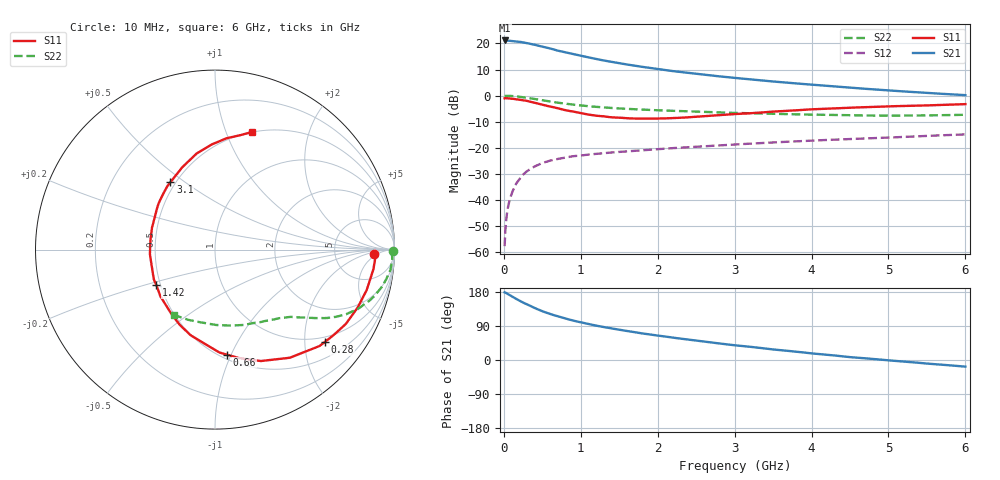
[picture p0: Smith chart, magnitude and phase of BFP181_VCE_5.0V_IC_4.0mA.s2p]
! Infineon Technologies  Discrete & RF Semiconductors
! BFP181
! VCE = 5.0 V,  IC =  4.0 mA
! Common Emitter S-Parameters:  Jan 2016
# GHz  S  MA  R  50
!  f  S11  S21  S12  S22
! GHz  MAG  ANG  MAG  ANG  MAG  ANG  MAG  ANG
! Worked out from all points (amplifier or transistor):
!   210 points, 10 MHz to 6 GHz, reference 50 ohm
!   highest |S21| = 21.1 dB at 10 MHz (marker M1)
!   |S21| within 3 dB of that: start of sweep to 592.3 MHz
!   unconditionally stable (mu >= 1): 1.936 GHz to end of sweep
!   at 185 MHz: K = 0.14, MSG = 26.7 dB, |S12| = -32.7 dB
!   at 1.52 GHz: K = 0.87, MSG = 16.9 dB, |S12| = -21.5 dB
!   at 6 GHz: K = 1.06, MAG = 6.0 dB, |S12| = -14.9 dB
!   S11 on the Smith chart (normalised r, x): 10 MHz: 16, -4; 280 MHz: 0.87, -2.48; 660 MHz: 0.54, -0.97; 1.42 GHz: 0.47, -0.22; 3.1 GHz: 0.47, +0.44; 6 GHz: 0.50, +1.23
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0.01  0.885 -1.6  11.4 178.6  0.0013 90.4  0.9926 -0.6
0.02  0.8945 -2.9  11.37 177.9  0.0026 83.6  0.9866 -1.2
0.035  0.8913 -5.0  11.34 176.0  0.0047 85.8  0.9876 -2.3
0.08  0.8785 -11.8  11.21 170.6  0.0105 83.0  0.9856 -5.3
0.2  0.8384 -29.6  10.81 156.9  0.0249 74.4  0.9518 -12.7
0.28  0.7996 -40.0  10.28 148.8  0.0335 68.1  0.9169 -17.1
0.4  0.7328 -55.3  9.439 137.1  0.0438 61.1  0.8621 -22.6
0.48  0.6811 -65.0  8.817 130.3  0.0495 56.6  0.8242 -25.4
0.6  0.6181 -77.7  8.024 121.4  0.0566 51.7  0.7708 -29.1
0.66  0.5895 -83.4  7.566 117.8  0.0592 49.8  0.7473 -30.5
0.8  0.5255 -96.8  6.763 109.3  0.065 45.7  0.6993 -33.1
0.9  0.4952 -106.1  6.26 104.0  0.0689 43.6  0.6712 -34.6
1.02  0.4559 -116.9  5.705 98.2  0.0717 41.7  0.6424 -36.3
1.2  0.4119 -131.7  5.032 90.7  0.0764 39.3  0.6083 -38.5
1.42  0.382 -149.0  4.381 82.7  0.0817 37.6  0.5764 -40.8
1.8  0.3636 -175.8  3.557 70.1  0.0899 35.6  0.539 -44.7
2.02  0.3638 170.7  3.193 64.0  0.0946 34.5  0.5221 -47.2
2.58  0.4018 142.6  2.531 49.3  0.1067 32.3  0.4873 -54.5
3.1  0.4499 123.5  2.117 37.0  0.1177 29.7  0.462 -62.3
4.1  0.5528 98.8  1.577 15.7  0.1393 24.7  0.4283 -80.7
5.1  0.6279 82.9  1.228 -2.5  0.1591 19.5  0.4131 -101.9
6  0.6862 72.6  1.02 -17.5  0.1805 14.1  0.4294 -121.8
